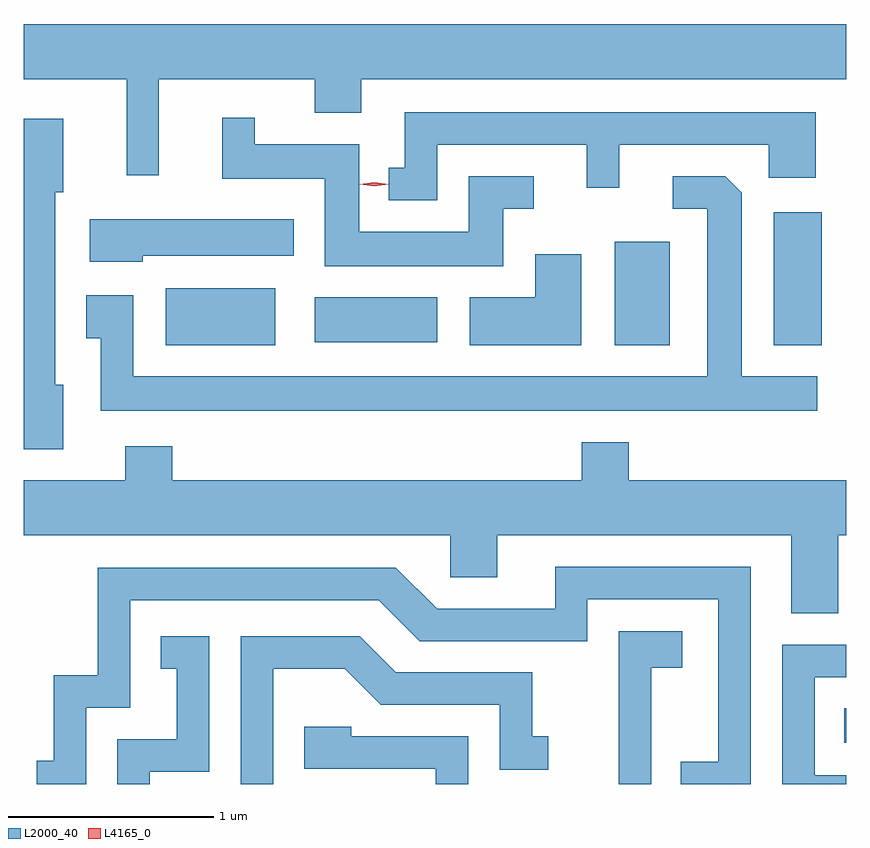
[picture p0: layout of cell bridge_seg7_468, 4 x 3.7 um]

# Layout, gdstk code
import gdstk
lib = gdstk.Library(unit=1e-6, precision=1e-09)
def R(c, l, rs):  # rectangles x0, y0, x1, y1
    for r in rs: c.add(gdstk.rectangle(r[:2], r[2:], *l))
def P(c, l, *ps):  # polygons
    for p in ps: c.add(gdstk.Polygon(p, *l))
L2000_40 = (2000, 40)
L4165_0 = (4165, 0)

bridge_seg7_468 = lib.new_cell('bridge_seg7_468')
R(bridge_seg7_468, L2000_40, [(1445.858,1719.966,1445.867,1720.134), (1442.556,1721.901,1443.089,1722.179), (1444.741,1721.901,1445.009,1722.404), (1445.516,1721.901,1445.749,1722.549), (1443.281,1721.916,1443.879,1722.134)])
P(bridge_seg7_468, L2000_40, [(1442.524,1723.196),(1443.281,1723.196),(1443.281,1723.031),(1443.509,1723.031),(1443.509,1723.196),(1445.867,1723.196),(1445.867,1723.464),(1441.867,1723.464),(1441.867,1723.196),(1442.366,1723.196),(1442.366,1722.728),(1442.524,1722.728)],
  [(1443.879,1722.876),(1444.606,1722.876),(1444.606,1722.668),(1444.764,1722.668),(1444.764,1722.876),(1445.491,1722.876),(1445.491,1722.716),(1445.719,1722.716),(1445.719,1723.034),(1443.721,1723.034),(1443.721,1722.764),(1443.643,1722.764),(1443.643,1722.606),(1443.879,1722.606)],
  [(1444.199,1722.566),(1444.348,1722.566),(1444.348,1722.724),(1444.031,1722.724),(1444.031,1722.454),(1443.499,1722.454),(1443.499,1722.879),(1442.989,1722.879),(1442.989,1723.008),(1442.831,1723.008),(1442.831,1722.711),(1443.331,1722.711),(1443.331,1722.286),(1444.199,1722.286)],
  [(1442.059,1721.709),(1442.019,1721.709),(1442.019,1722.646),(1442.059,1722.646),(1442.059,1723.004),(1441.867,1723.004),(1441.867,1721.396),(1442.059,1721.396)],
  [(1445.728,1721.749),(1445.359,1721.749),(1445.359,1722.644),(1445.279,1722.724),(1445.023,1722.724),(1445.023,1722.566),(1445.191,1722.566),(1445.191,1721.749),(1442.399,1721.749),(1442.399,1722.144),(1442.171,1722.144),(1442.171,1721.936),(1442.241,1721.936),(1442.241,1721.581),(1445.728,1721.581)],
  [(1442.444,1722.336),(1443.179,1722.336),(1443.179,1722.514),(1442.186,1722.514),(1442.186,1722.306),(1442.444,1722.306)],
  [(1444.579,1722.344),(1444.356,1722.344),(1444.356,1722.134),(1444.036,1722.134),(1444.036,1721.901),(1444.579,1721.901)],
  [(1445.829,1720.976),(1445.867,1720.976),(1445.867,1721.244),(1444.809,1721.244),(1444.809,1721.429),(1444.581,1721.429),(1444.581,1721.244),(1442.589,1721.244),(1442.589,1721.409),(1442.361,1721.409),(1442.361,1721.244),(1441.867,1721.244),(1441.867,1720.976),(1443.941,1720.976),(1443.941,1720.771),(1444.169,1720.771),(1444.169,1720.976),(1445.601,1720.976),(1445.601,1720.596),(1445.829,1720.596)],
  [(1442.169,1720.136),(1442.384,1720.136),(1442.384,1720.661),(1443.594,1720.661),(1443.794,1720.461),(1444.609,1720.461),(1444.609,1720.666),(1445.246,1720.666),(1445.246,1719.874),(1445.063,1719.874),(1445.063,1719.766),(1445.404,1719.766),(1445.404,1720.824),(1444.451,1720.824),(1444.451,1720.619),(1443.877,1720.619),(1443.677,1720.819),(1442.226,1720.819),(1442.226,1720.294),(1442.011,1720.294),(1442.011,1719.879),(1441.928,1719.879),(1441.928,1719.766),(1442.169,1719.766)],
  [(1444.919,1720.331),(1445.069,1720.331),(1445.069,1720.509),(1444.761,1720.509),(1444.761,1719.766),(1444.919,1719.766)],
  [(1442.479,1719.826),(1442.769,1719.826),(1442.769,1720.484),(1442.533,1720.484),(1442.533,1720.326),(1442.611,1720.326),(1442.611,1719.984),(1442.321,1719.984),(1442.321,1719.766),(1442.479,1719.766)],
  [(1443.079,1720.326),(1443.429,1720.326),(1443.604,1720.151),(1444.181,1720.151),(1444.181,1719.836),(1444.418,1719.836),(1444.418,1719.999),(1444.339,1719.999),(1444.339,1720.309),(1443.677,1720.309),(1443.502,1720.484),(1442.921,1720.484),(1442.921,1719.766),(1443.079,1719.766)],
  [(1445.867,1719.809),(1445.714,1719.809),(1445.714,1720.286),(1445.867,1720.286),(1445.867,1720.444),(1445.556,1720.444),(1445.556,1719.766),(1445.867,1719.766)],
  [(1444.029,1719.999),(1443.459,1719.999),(1443.459,1720.044),(1443.231,1720.044),(1443.231,1719.841),(1443.871,1719.841),(1443.871,1719.766),(1444.029,1719.766)])
P(bridge_seg7_468, L4165_0, [(1443.571,1722.674),(1443.502,1722.684),(1443.502,1722.684),(1443.502,1722.684),(1443.571,1722.694),(1443.641,1722.685),(1443.641,1722.685),(1443.641,1722.684)])

lib.write_gds('bridge_seg7_468.gds')
